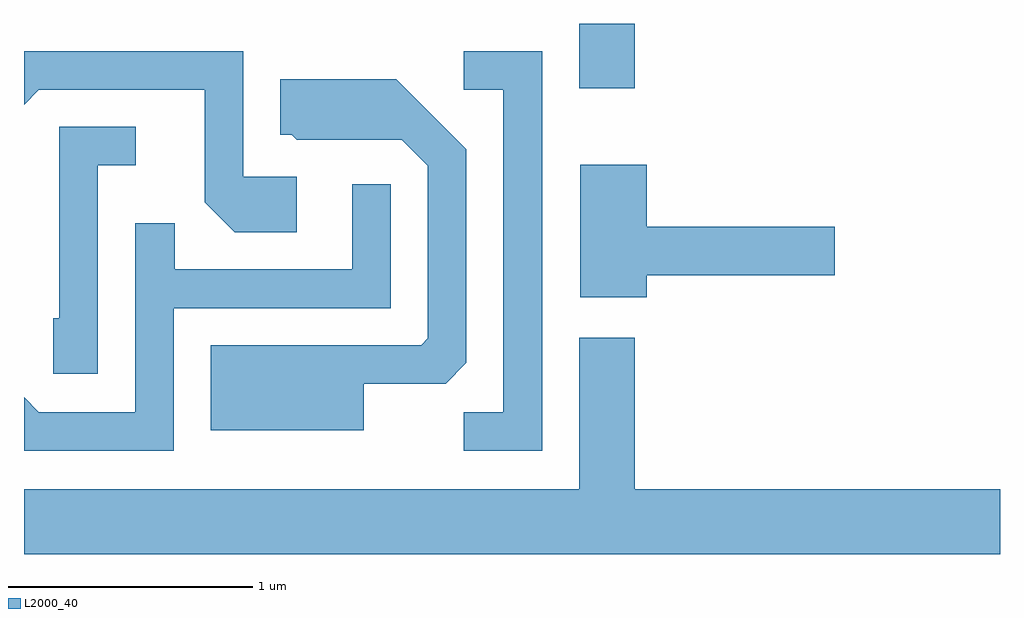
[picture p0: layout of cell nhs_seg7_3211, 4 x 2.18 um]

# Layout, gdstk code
import gdstk
lib = gdstk.Library(unit=1e-6, precision=1e-09)
def R(c, l, rs):  # rectangles x0, y0, x1, y1
    for r in rs: c.add(gdstk.rectangle(r[:2], r[2:], *l))
def P(c, l, *ps):  # polygons
    for p in ps: c.add(gdstk.Polygon(p, *l))
L2000_40 = (2000, 40)

nhs_seg7_3211 = lib.new_cell('nhs_seg7_3211')
R(nhs_seg7_3211, L2000_40, [(285.886,1733.986,286.114,1734.252)])
P(nhs_seg7_3211, L2000_40, [(285.734,1734.139),(285.413,1734.139),(285.413,1733.981),(285.576,1733.981),(285.576,1732.659),(285.413,1732.659),(285.413,1732.501),(285.734,1732.501)],
  [(284.729,1733.624),(284.509,1733.624),(284.509,1734.139),(283.611,1734.139),(283.611,1733.92),(283.672,1733.981),(284.351,1733.981),(284.351,1733.519),(284.474,1733.396),(284.729,1733.396)],
  [(285.004,1732.776),(285.339,1732.776),(285.424,1732.862),(285.424,1733.737),(285.137,1734.024),(284.661,1734.024),(284.661,1733.796),(284.709,1733.796),(284.729,1733.776),(285.159,1733.776),(285.266,1733.669),(285.266,1732.962),(285.239,1732.934),(284.376,1732.934),(284.376,1732.586),(285.004,1732.586)],
  [(283.914,1733.671),(284.068,1733.671),(284.068,1733.829),(283.756,1733.829),(283.756,1733.044),(283.731,1733.044),(283.731,1732.816),(283.914,1732.816)],
  [(286.164,1733.221),(286.934,1733.221),(286.934,1733.419),(286.164,1733.419),(286.164,1733.674),(285.891,1733.674),(285.891,1733.131),(286.164,1733.131)],
  [(284.224,1733.086),(285.114,1733.086),(285.114,1733.593),(284.956,1733.593),(284.956,1733.244),(284.229,1733.244),(284.229,1733.433),(284.066,1733.433),(284.066,1732.659),(283.672,1732.659),(283.611,1732.72),(283.611,1732.501),(284.224,1732.501)],
  [(287.611,1732.344),(286.114,1732.344),(286.114,1732.964),(285.886,1732.964),(285.886,1732.344),(283.611,1732.344),(283.611,1732.076),(287.611,1732.076)])

lib.write_gds('nhs_seg7_3211.gds')
